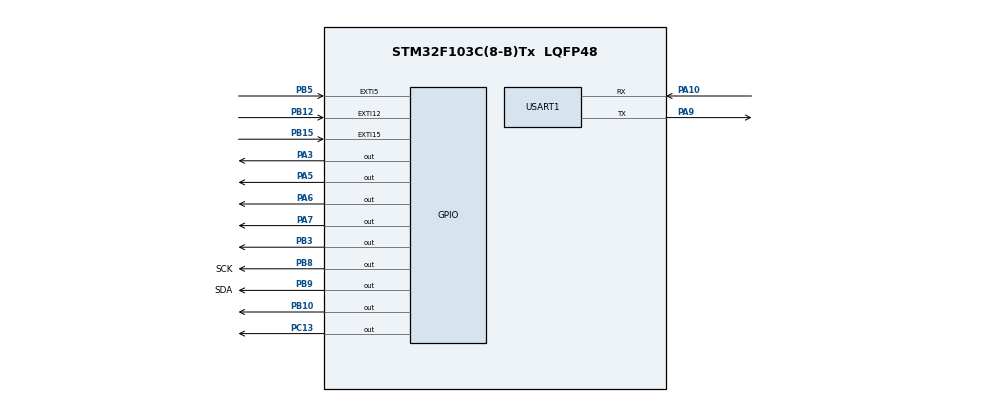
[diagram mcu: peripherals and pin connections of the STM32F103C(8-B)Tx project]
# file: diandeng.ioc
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Mcu.Family=STM32F1
Mcu.Name=STM32F103C(8-B)Tx
Mcu.Package=LQFP48
NVIC.EXTI15_10_IRQn=true\:1\:0\:true\:false\:true\:true\:true\:true
NVIC.EXTI9_5_IRQn=true\:1\:0\:true\:false\:true\:true\:true\:true
NVIC.PriorityGroup=NVIC_PRIORITYGROUP_4
NVIC.TIM2_IRQn=true\:0\:0\:false\:false\:true\:true\:true\:true
NVIC.USART1_IRQn=true\:0\:0\:false\:false\:true\:true\:true\:true
PA10.Mode=Asynchronous
PA10.Signal=USART1_RX
PA13.Mode=Serial_Wire
PA13.Signal=SYS_JTMS-SWDIO
PA14.Mode=Serial_Wire
PA14.Signal=SYS_JTCK-SWCLK
PA3.GPIO_ModeDefaultOutputPP=GPIO_MODE_OUTPUT_OD
PA3.GPIO_PuPd=GPIO_NOPULL
PA3.Signal=GPIO_Output
PA5.Signal=GPIO_Output
PA6.Signal=GPIO_Output
PA7.Signal=GPIO_Output
PA9.Mode=Asynchronous
PA9.Signal=USART1_TX
PB10.Signal=GPIO_Output
PB12.GPIO_PuPd=GPIO_PULLDOWN
PB12.Signal=GPXTI12
PB15.GPIO_PuPd=GPIO_PULLDOWN
PB15.Signal=GPXTI15
PB3.Signal=GPIO_Output
PB5.GPIO_PuPd=GPIO_PULLDOWN
PB5.Signal=GPXTI5
PB8.GPIO_Label=SCK
PB8.GPIO_ModeDefaultOutputPP=GPIO_MODE_OUTPUT_OD
PB8.GPIO_PuPd=GPIO_NOPULL
PB8.Signal=GPIO_Output
PB9.GPIO_Label=SDA
PB9.GPIO_ModeDefaultOutputPP=GPIO_MODE_OUTPUT_OD
PB9.GPIO_PuPd=GPIO_NOPULL
PB9.Signal=GPIO_Output
PC13-TAMPER-RTC.Signal=GPIO_Output
ProjectManager.HeapSize=0x200
ProjectManager.StackSize=0x400
ProjectManager.TargetToolchain=CMake
RCC.APB1Freq_Value=8000000
RCC.APB2Freq_Value=8000000
TIM2.Period=999                               
TIM2.Prescaler=7999
TIM3.Prescaler=7
USART1.VirtualMode=VM_ASYNC
VP_TIM2_VS_ClockSourceINT.Mode=Internal
VP_TIM3_VS_ClockSourceINT.Mode=Internal
board=custom

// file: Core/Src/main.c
/* USER CODE BEGIN Header */
/**
 ******************************************************************************
 * @file           : main.c
 * @brief          : Main program body
 ******************************************************************************
 * @attention
 *
 * Copyright (c) 2026 STMicroelectronics.
 * All rights reserved.
 *
 * This software is licensed under terms that can be found in the LICENSE file
 * in the root directory of this software component.
 * If no LICENSE file comes with this software, it is provided AS-IS.
 *
 ******************************************************************************
 */
/* USER CODE END Header */
#include "main.h"

/* USER CODE BEGIN Includes */
#include <stdio.h>
#include <string.h>
#include "LED_iic.h"
#include "keyboard.h"
#include "Onewire_DS18B20.h"
#include "TB6612FNG.h"
/* USER CODE END Includes */

/* USER CODE BEGIN PD */
#define BUTTONS_ATTACHED_NUM 3
#define MOTORS_ATTACHED_NUM 1
#define buzzer_pin_area GPIOB
#define buzzer_pin GPIO_PIN_10
#define buzzer_activate() HAL_GPIO_WritePin(buzzer_pin_area, buzzer_pin, GPIO_PIN_RESET);
#define buzzer_deactivate() HAL_GPIO_WritePin(buzzer_pin_area, buzzer_pin, GPIO_PIN_SET);

/* USER CODE END PD */

/* USER CODE BEGIN PM */
SingleBtn buttons[BUTTONS_ATTACHED_NUM]; // 设置-上-下
static uint16_t buttons_GPIO[] = {GPIO_PIN_12, GPIO_PIN_15, GPIO_PIN_5};
static GPIO_TypeDef *buttons_GPIO_area[] = {GPIOB, GPIOB, GPIOB};
SingleMotor motor;
short int SettingStatus = 0; // 当前选择位置状态机

/* USER CODE END PM */

TIM_HandleTypeDef htim2;
TIM_HandleTypeDef htim3;

UART_HandleTypeDef huart1;

/* USER CODE BEGIN PV */
struct Platformtime
{
  volatile short int hours, minutes, seconds;
  volatile short int years, months, days;
};
struct State
{
  char _bool;
};

volatile struct Platformtime Time_present;
uint8_t rx_buffer[64];
char string_up[24];
char string_down[24];
char string_3[24];
char string_4[24];
short int alarm_hours = 0, alarm_minutes = 1; // 闹铃时间
_Bool alarm_trigger = false;                  // 闹铃/警报是否正在触发
long long alarm_trigger_unix = 0;             // 闹铃触发的时间
short int ALARM_TEMPTURE = 26;                // 报警温度
volatile float current_tempture = 0;          // 当前温度
volatile short int *volume_pointer;           // !上下键要修改的值的指针，易变
/* USER CODE END PV */

void SystemClock_Config(void);
static void MX_GPIO_Init(void);
static void MX_USART1_UART_Init(void);
static void MX_TIM2_Init(void);
static void MX_TIM3_Init(void);

/* USER CODE BEGIN 0 */
int max(int a, int b)
{
  if (a > b)
  {
    return a;
  }
  return b;
}
int min(int a, int b)
{
  if (a < b)
  {
    return a;
  }
  return b;
}
int _write(int file, char *ptr, int len)
{
  (void)file;
  HAL_UART_Transmit(&huart1, (uint8_t *)ptr, (uint16_t)len, 2);
  return len;
}
short int fixSettingStatus(short int value)
{
  if (SettingStatus > 8)
  {
    SettingStatus = 0;
  }
  else if (SettingStatus < 0)
  {
    SettingStatus = 0;
  }
  else
  {
    SettingStatus = value;
  }
  return SettingStatus;
}
void SleepDisplayBasedOnSetting(short int ignore)
{
  OLED_generateChace(&htim3);
  if (ignore == 0)
  {
    switch (SettingStatus)
    {
    case 0:
      OLED_ClearVram();
      sprintf(string_up, "%04d-%02d-%02d", Time_present.years, Time_present.months, Time_present.days);
      sprintf(string_down, "%02d:%02d:%02d", Time_present.hours, Time_present.minutes, Time_present.seconds);
      sprintf(string_3, "C:%.2f A:%d", current_tempture, ALARM_TEMPTURE);
      sprintf(string_4, "A:%02d:%02d", alarm_hours, alarm_minutes);
      OLED_ShowString(1, 1, string_up);
      OLED_ShowString(2, 1, string_down);
      OLED_ShowString(3, 1, string_3);
      OLED_ShowString(4, 1, string_4);
      OLED_Refresh(&htim3);
      volume_pointer = NULL;
      break;
    case 1:
      // 秒
      OLED_ClearVram();
      sprintf(string_up, "%04d-%02d-%02d", Time_present.years, Time_present.months, Time_present.days);
      sprintf(string_down, "%02d:%02d:  ", Time_present.hours, Time_present.minutes);
      sprintf(string_3, "C:%.2f A:%d", current_tempture, ALARM_TEMPTURE);
      sprintf(string_4, "A:%02d:%02d", alarm_hours, alarm_minutes);
      OLED_ShowString(1, 1, string_up);
      OLED_ShowString(2, 1, string_down);
      OLED_ShowString(3, 1, string_3);
      OLED_ShowString(4, 1, string_4);
      OLED_Refresh(&htim3);
      volume_pointer = &Time_present.seconds;
      break;
    case 2:
      // 分
      OLED_ClearVram();
      sprintf(string_up, "%04d-%02d-%02d", Time_present.years, Time_present.months, Time_present.days);
      sprintf(string_down, "%02d:  :%02d", Time_present.hours, Time_present.seconds);
      sprintf(string_3, "C:%.2f A:%d", current_tempture, ALARM_TEMPTURE);
      sprintf(string_4, "A:%02d:%02d", alarm_hours, alarm_minutes);
      OLED_ShowString(1, 1, string_up);
      OLED_ShowString(2, 1, string_down);
      OLED_ShowString(3, 1, string_3);
      OLED_ShowString(4, 1, string_4);
      OLED_Refresh(&htim3);
      volume_pointer = &Time_present.minutes;
      break;
    case 3:
      // hours
      OLED_ClearVram();
      sprintf(string_up, "%04d-%02d-%02d", Time_present.years, Time_present.months, Time_present.days);
      sprintf(string_down, "  :%02d:%02d", Time_present.minutes, Time_present.seconds);
      sprintf(string_3, "C:%.2f A:%d", current_tempture, ALARM_TEMPTURE);
      sprintf(string_4, "A:%02d:%02d", alarm_hours, alarm_minutes);
      OLED_ShowString(1, 1, string_up);
      OLED_ShowString(2, 1, string_down);
      OLED_ShowString(3, 1, string_3);
      OLED_ShowString(4, 1, string_4);
      OLED_Refresh(&htim3);
      volume_pointer = &Time_present.hours;
      break;
    case 4:
      // days
      OLED_ClearVram();
      sprintf(string_up, "%04d-%02d-  ", Time_present.years, Time_present.months);
      sprintf(string_down, "%02d:%02d:%02d", Time_present.hours, Time_present.minutes, Time_present.seconds);
      sprintf(string_3, "C:%.2f A:%d", current_tempture, ALARM_TEMPTURE);
      sprintf(string_4, "A:%02d:%02d", alarm_hours, alarm_minutes);
      OLED_ShowString(1, 1, string_up);
      OLED_ShowString(2, 1, string_down);
      OLED_ShowString(3, 1, string_3);
      OLED_ShowString(4, 1, string_4);
      OLED_Refresh(&htim3);
      volume_pointer = &Time_present.days;
      break;
    case 5:
      // months
      OLED_ClearVram();
      sprintf(string_up, "%04d-  -%02d", Time_present.years, Time_present.days);
      sprintf(string_down, "%02d:%02d:%02d", Time_present.hours, Time_present.minutes, Time_present.seconds);
      sprintf(string_3, "C:%.2f A:%d", current_tempture, ALARM_TEMPTURE);
      sprintf(string_4, "A:%02d:%02d", alarm_hours, alarm_minutes);
      OLED_ShowString(1, 1, string_up);
      OLED_ShowString(2, 1, string_down);
      OLED_ShowString(3, 1, string_3);
      OLED_ShowString(4, 1, string_4);
      OLED_Refresh(&htim3);
      volume_pointer = &Time_present.months;
      break;
    case 6:
      // years
      OLED_ClearVram();
      sprintf(string_up, "    -%02d-%02d", Time_present.months, Time_present.days);
      sprintf(string_down, "%02d:%02d:%02d", Time_present.hours, Time_present.minutes, Time_present.seconds);
      sprintf(string_3, "C:%.2f A:%.d", current_tempture, ALARM_TEMPTURE);
      sprintf(string_4, "A:%02d:%02d", alarm_hours, alarm_minutes);
      OLED_ShowString(1, 1, string_up);
      OLED_ShowString(2, 1, string_down);
      OLED_ShowString(3, 1, string_3);
      OLED_ShowString(4, 1, string_4);
      OLED_Refresh(&htim3);
      volume_pointer = &Time_present.years;
      break;
    case 7:
      // 闹铃时
      OLED_ClearVram();
      sprintf(string_up, "%04d-%02d-%02d", Time_present.years, Time_present.months, Time_present.days);
      sprintf(string_down, "%02d:%02d:%02d", Time_present.hours, Time_present.minutes, Time_present.seconds);
      sprintf(string_3, "C:%.2f A:%d", current_tempture, ALARM_TEMPTURE);
      sprintf(string_4, "A:  :%02d ", alarm_minutes);
      OLED_ShowString(1, 1, string_up);
      OLED_ShowString(2, 1, string_down);
      OLED_ShowString(3, 1, string_3);
      OLED_ShowString(4, 1, string_4);
      OLED_Refresh(&htim3);
      volume_pointer = &alarm_hours;
      break;
    case 8:
      // 闹铃分
      OLED_ClearVram();
      sprintf(string_up, "%04d-%02d-%02d", Time_present.years, Time_present.months, Time_present.days);
      sprintf(string_down, "%02d:%02d:%02d", Time_present.hours, Time_present.minutes, Time_present.seconds);
      sprintf(string_3, "C:%.2f A:%d", current_tempture, ALARM_TEMPTURE);
      sprintf(string_4, "A:%02d:  ", alarm_hours);
      OLED_ShowString(1, 1, string_up);
      OLED_ShowString(2, 1, string_down);
      OLED_ShowString(3, 1, string_3);
      OLED_ShowString(4, 1, string_4);
      OLED_Refresh(&htim3);
      volume_pointer = &alarm_minutes;
      break;
    case 9:
      // 温度报警
      OLED_ClearVram();
      sprintf(string_up, "%04d-%02d-%02d", Time_present.years, Time_present.months, Time_present.days);
      sprintf(string_down, "%02d:%02d:%02d", Time_present.hours, Time_present.minutes, Time_present.seconds);
      sprintf(string_3, "C:%.2f A:  ", current_tempture);
      sprintf(string_4, "A:%02d:%02d", alarm_hours, alarm_minutes);
      OLED_ShowString(1, 1, string_up);
      OLED_ShowString(2, 1, string_down);
      OLED_ShowString(3, 1, string_3);
      OLED_ShowString(4, 1, string_4);
      OLED_Refresh(&htim3);
      volume_pointer = &ALARM_TEMPTURE;
      break;
    default:
      OLED_ClearVram();
      sprintf(string_up, "%04d-%02d-%02d", Time_present.years, Time_present.months, Time_present.days);
      sprintf(string_down, "%02d:%02d:%02d", Time_present.hours, Time_present.minutes, Time_present.seconds);
      sprintf(string_3, "C:%.2f A:%d", current_tempture, ALARM_TEMPTURE);
      sprintf(string_4, "A:%02d:%02d", alarm_hours, alarm_minutes);
      OLED_ShowString(1, 1, string_up);
      OLED_ShowString(2, 1, string_down);
      OLED_ShowString(3, 1, string_3);
      OLED_ShowString(4, 1, string_4);
      OLED_Refresh(&htim3);
      volume_pointer = NULL;
      break;
    }
  }
  else
  {
    OLED_ClearVram();
    sprintf(string_up, "%04d-%02d-%02d", Time_present.years, Time_present.months, Time_present.days);
    sprintf(string_down, "%02d:%02d:%02d", Time_present.hours, Time_present.minutes, Time_present.seconds);
    sprintf(string_3, "C:%.2f A:%d", current_tempture, ALARM_TEMPTURE);
    sprintf(string_4, "A:%02d:%02d", alarm_hours, alarm_minutes);
    OLED_ShowString(1, 1, string_up);
    OLED_ShowString(2, 1, string_down);
    OLED_ShowString(3, 1, string_3);
    OLED_ShowString(4, 1, string_4);
    OLED_Refresh(&htim3);
    volume_pointer = NULL;
  }
}
/* USER CODE END 0 */

int main(void)
{

  /* USER CODE BEGIN 1 */
  for (int i = 0; i < BUTTONS_ATTACHED_NUM; i++)
  {
    SingleBtn_Init(&buttons[i], buttons_GPIO_area[i], buttons_GPIO[i]);
  }
  //! Button initialization
  Time_present.years = 2026;
  Time_present.months = 9;
  Time_present.days = 12;
  Time_present.hours = 10;
  Time_present.minutes = 00;
  Time_present.seconds = 00;
  alarm_hours = Time_present.hours;
  alarm_minutes = Time_present.minutes + 1;
  // DEBUG 闹铃时间初始化
  //! 时间初始化
  /* USER CODE END 1 */

  /* MCU Configuration--------------------------------------------------------*/

  /* Reset of all peripherals, Initializes the Flash interface and the Systick. */
  HAL_Init();

  /* Configure the system clock */
  SystemClock_Config();

  /* Initialize all configured peripherals */
  MX_GPIO_Init();
  MX_USART1_UART_Init();
  MX_TIM2_Init();
  MX_TIM3_Init();
  /* USER CODE BEGIN 2 */
  HAL_TIM_Base_Start_IT(&htim2);
  HAL_TIM_Base_Start(&htim3);
  HAL_UARTEx_ReceiveToIdle_IT(&huart1, rx_buffer, sizeof rx_buffer);
  buzzer_deactivate();
  iic_initialize();
  OLED_init(&htim3);
  SingleMotor_Init(&motor, GPIOA, GPIO_PIN_5, GPIOA, GPIO_PIN_6, GPIOA, GPIO_PIN_7); // 对电机进行初始化
  HAL_GPIO_TogglePin(GPIOB, GPIO_PIN_3);

  /* USER CODE END 2 */

  /* Infinite loop */
  while (1)
  {

    /* USER CODE BEGIN 3 */

    // 显示当前时间
    short int temp_time = Time_present.seconds;
    long long tmep_time_unix = HAL_GetTick();
    bool flag = false;
    if (HAL_GetTick() - DS18B20_launchConvertTick > 1000)
    {
      current_tempture = DS18B20_read(&htim3);
      DS18B20_tempConvert(&htim3);
      SleepDisplayBasedOnSetting(0);
      if (current_tempture > ALARM_TEMPTURE * 1.0)
      {
        // 温度检测报警，防止频繁触发
        alarm_trigger = true;
      }
    }
    while (Time_present.seconds == temp_time && HAL_GetTick() - tmep_time_unix < 500)
    {
      if (flag == false)
      {
        SleepDisplayBasedOnSetting(0);
        flag = true;
        continue;
      }
      if (alarm_trigger == true && SettingStatus != 9)
      {
        // TODO 在这里写蜂鸣器和led逻辑
        for (int i = 0; i < 28; i++)
        {
          fixSettingStatus(0); // 强行中断当前的修改任务
          HAL_GPIO_TogglePin(GPIOB, GPIO_PIN_3);
          buzzer_activate();
          SleepDisplayBasedOnSetting(1);
          unsigned long long tick = HAL_GetTick();
          while (HAL_GetTick() - tick < 100)
          {
            if (current_tempture > ALARM_TEMPTURE * 1.0)
            {
              // 如果闹铃是由温度驱动
              SingleMotor_Forward(&motor);
            }
          }
          SingleMotor_Stop(&motor);
          buzzer_deactivate();
        }
        alarm_trigger = false;
      }
    }
    SleepDisplayBasedOnSetting(1);
  }
  /* USER CODE END 3 */
}

void SystemClock_Config(void)
{
  RCC_OscInitTypeDef RCC_OscInitStruct = {0};
  RCC_ClkInitTypeDef RCC_ClkInitStruct = {0};

  /** Initializes the RCC Oscillators according to the specified parameters
   * in the RCC_OscInitTypeDef structure.
   */
  RCC_OscInitStruct.OscillatorType = RCC_OSCILLATORTYPE_HSI;
  RCC_OscInitStruct.HSIState = RCC_HSI_ON;
  RCC_OscInitStruct.HSICalibrationValue = RCC_HSICALIBRATION_DEFAULT;
  RCC_OscInitStruct.PLL.PLLState = RCC_PLL_NONE;
  if (HAL_RCC_OscConfig(&RCC_OscInitStruct) != HAL_OK)
  {
    Error_Handler();
  }

  /** Initializes the CPU, AHB and APB buses clocks
   */
  RCC_ClkInitStruct.ClockType = RCC_CLOCKTYPE_HCLK | RCC_CLOCKTYPE_SYSCLK | RCC_CLOCKTYPE_PCLK1 | RCC_CLOCKTYPE_PCLK2;
  RCC_ClkInitStruct.SYSCLKSource = RCC_SYSCLKSOURCE_HSI;
  RCC_ClkInitStruct.AHBCLKDivider = RCC_SYSCLK_DIV1;
  RCC_ClkInitStruct.APB1CLKDivider = RCC_HCLK_DIV1;
  RCC_ClkInitStruct.APB2CLKDivider = RCC_HCLK_DIV1;

  if (HAL_RCC_ClockConfig(&RCC_ClkInitStruct, FLASH_LATENCY_0) != HAL_OK)
  {
    Error_Handler();
  }
}

static void MX_TIM2_Init(void)
{

  TIM_ClockConfigTypeDef sClockSourceConfig = {0};
  TIM_MasterConfigTypeDef sMasterConfig = {0};

  htim2.Instance = TIM2;
  htim2.Init.Prescaler = 7999;
  htim2.Init.CounterMode = TIM_COUNTERMODE_UP;
  htim2.Init.Period = 999;
  htim2.Init.ClockDivision = TIM_CLOCKDIVISION_DIV1;
  htim2.Init.AutoReloadPreload = TIM_AUTORELOAD_PRELOAD_DISABLE;
  if (HAL_TIM_Base_Init(&htim2) != HAL_OK)
  {
    Error_Handler();
  }
  sClockSourceConfig.ClockSource = TIM_CLOCKSOURCE_INTERNAL;
  if (HAL_TIM_ConfigClockSource(&htim2, &sClockSourceConfig) != HAL_OK)
  {
    Error_Handler();
  }
  sMasterConfig.MasterOutputTrigger = TIM_TRGO_RESET;
  sMasterConfig.MasterSlaveMode = TIM_MASTERSLAVEMODE_DISABLE;
  if (HAL_TIMEx_MasterConfigSynchronization(&htim2, &sMasterConfig) != HAL_OK)
  {
    Error_Handler();
  }
}

static void MX_TIM3_Init(void)
{

  TIM_ClockConfigTypeDef sClockSourceConfig = {0};
  TIM_MasterConfigTypeDef sMasterConfig = {0};

  htim3.Instance = TIM3;
  htim3.Init.Prescaler = 7;
  htim3.Init.CounterMode = TIM_COUNTERMODE_UP;
  htim3.Init.Period = 65535;
  htim3.Init.ClockDivision = TIM_CLOCKDIVISION_DIV1;
  htim3.Init.AutoReloadPreload = TIM_AUTORELOAD_PRELOAD_DISABLE;
  if (HAL_TIM_Base_Init(&htim3) != HAL_OK)
  {
    Error_Handler();
  }
  sClockSourceConfig.ClockSource = TIM_CLOCKSOURCE_INTERNAL;
  if (HAL_TIM_ConfigClockSource(&htim3, &sClockSourceConfig) != HAL_OK)
  {
    Error_Handler();
  }
  sMasterConfig.MasterOutputTrigger = TIM_TRGO_RESET;
  sMasterConfig.MasterSlaveMode = TIM_MASTERSLAVEMODE_DISABLE;
  if (HAL_TIMEx_MasterConfigSynchronization(&htim3, &sMasterConfig) != HAL_OK)
  {
    Error_Handler();
  }
}

static void MX_USART1_UART_Init(void)
{

  huart1.Instance = USART1;
  huart1.Init.BaudRate = 115200;
  huart1.Init.WordLength = UART_WORDLENGTH_8B;
  huart1.Init.StopBits = UART_STOPBITS_1;
  huart1.Init.Parity = UART_PARITY_NONE;
  huart1.Init.Mode = UART_MODE_TX_RX;
  huart1.Init.HwFlowCtl = UART_HWCONTROL_NONE;
  huart1.Init.OverSampling = UART_OVERSAMPLING_16;
  if (HAL_UART_Init(&huart1) != HAL_OK)
  {
    Error_Handler();
  }
}

static void MX_GPIO_Init(void)
{
  GPIO_InitTypeDef GPIO_InitStruct = {0};

  /* GPIO Ports Clock Enable */
  __HAL_RCC_GPIOC_CLK_ENABLE();
  __HAL_RCC_GPIOA_CLK_ENABLE();
  __HAL_RCC_GPIOB_CLK_ENABLE();

  /*Configure GPIO pin Output Level */
  HAL_GPIO_WritePin(GPIOC, GPIO_PIN_13, GPIO_PIN_RESET);

  /*Configure GPIO pin Output Level */
  HAL_GPIO_WritePin(GPIOA, GPIO_PIN_3 | GPIO_PIN_5 | GPIO_PIN_6 | GPIO_PIN_7, GPIO_PIN_RESET);

  /*Configure GPIO pin Output Level */
  HAL_GPIO_WritePin(GPIOB, GPIO_PIN_10 | GPIO_PIN_3 | SCK_Pin | SDA_Pin, GPIO_PIN_RESET);

  /*Configure GPIO pin : PC13 */
  GPIO_InitStruct.Pin = GPIO_PIN_13;
  GPIO_InitStruct.Mode = GPIO_MODE_OUTPUT_PP;
  GPIO_InitStruct.Pull = GPIO_NOPULL;
  GPIO_InitStruct.Speed = GPIO_SPEED_FREQ_LOW;
  HAL_GPIO_Init(GPIOC, &GPIO_InitStruct);

  /*Configure GPIO pin : PA3 */
  GPIO_InitStruct.Pin = GPIO_PIN_3;
  GPIO_InitStruct.Mode = GPIO_MODE_OUTPUT_OD;
  GPIO_InitStruct.Pull = GPIO_NOPULL;
  GPIO_InitStruct.Speed = GPIO_SPEED_FREQ_LOW;
  HAL_GPIO_Init(GPIOA, &GPIO_InitStruct);

  /*Configure GPIO pins : PA5 PA6 PA7 */
  GPIO_InitStruct.Pin = GPIO_PIN_5 | GPIO_PIN_6 | GPIO_PIN_7;
  GPIO_InitStruct.Mode = GPIO_MODE_OUTPUT_PP;
  GPIO_InitStruct.Pull = GPIO_NOPULL;
  GPIO_InitStruct.Speed = GPIO_SPEED_FREQ_LOW;
  HAL_GPIO_Init(GPIOA, &GPIO_InitStruct);

  /*Configure GPIO pins : PB10 PB3 */
  GPIO_InitStruct.Pin = GPIO_PIN_10 | GPIO_PIN_3;
  GPIO_InitStruct.Mode = GPIO_MODE_OUTPUT_PP;
  GPIO_InitStruct.Pull = GPIO_NOPULL;
  GPIO_InitStruct.Speed = GPIO_SPEED_FREQ_LOW;
  HAL_GPIO_Init(GPIOB, &GPIO_InitStruct);

  /*Configure GPIO pins : PB12 PB15 PB5 */
  GPIO_InitStruct.Pin = GPIO_PIN_12 | GPIO_PIN_15 | GPIO_PIN_5;
  GPIO_InitStruct.Mode = GPIO_MODE_IT_RISING;
  GPIO_InitStruct.Pull = GPIO_PULLDOWN;
  HAL_GPIO_Init(GPIOB, &GPIO_InitStruct);

  /*Configure GPIO pins : SCK_Pin SDA_Pin */
  GPIO_InitStruct.Pin = SCK_Pin | SDA_Pin;
  GPIO_InitStruct.Mode = GPIO_MODE_OUTPUT_OD;
  GPIO_InitStruct.Pull = GPIO_NOPULL;
  GPIO_InitStruct.Speed = GPIO_SPEED_FREQ_LOW;
  HAL_GPIO_Init(GPIOB, &GPIO_InitStruct);

  /* EXTI interrupt init*/
  HAL_NVIC_SetPriority(EXTI9_5_IRQn, 1, 0);
  HAL_NVIC_EnableIRQ(EXTI9_5_IRQn);

  HAL_NVIC_SetPriority(EXTI15_10_IRQn, 1, 0);
  HAL_NVIC_EnableIRQ(EXTI15_10_IRQn);

}

/* USER CODE BEGIN 4 */
void HAL_TIM_PeriodElapsedCallback(TIM_HandleTypeDef *htim)
{
  if (htim->Instance == TIM2)
  {
    // * only run when the callback is triggered by TIM1
    // * update time
    if (!(SettingStatus <= 6 && SettingStatus >= 1))
    {
      // 在设置时间的时候暂停时间的流动（很高级吧！对吧对吧？！）
      Time_present.seconds++;
    }
    if (Time_present.seconds >= 60)
    {
      Time_present.seconds = 0;
      Time_present.minutes++;
    }
    if (Time_present.minutes >= 60)
    {
      Time_present.minutes = 0;
      Time_present.hours++;
    }
    if (Time_present.hours >= 24)
    {
      Time_present.hours = 0;
      Time_present.minutes = 0;
      Time_present.seconds = 0;
      Time_present.days++;
    }
    // ways to calculate years,month,days
    unsigned char isrunyears = ((Time_present.years % 4 == 0 && Time_present.years % 100 != 0) || (Time_present.years % 100 == 0 && Time_present.years % 400 == 0));
    short int DAYS_MAX;
    switch (Time_present.months)
    {
    case 1:
    case 3:
    case 5:
    case 7:
    case 8:
    case 10:
    case 12:
      DAYS_MAX = 31;
      break;
    case 4:
    case 6:
    case 9:
    case 11:
      DAYS_MAX = 30;
      break;
    case 2:
      if (isrunyears)
      {
        DAYS_MAX = 29;
      }
      else
      {
        DAYS_MAX = 28;
      }
      break;
    default:
      DAYS_MAX = 31;
      // * 保底策略
      break;
    }
    // * end calculating run years
    if (Time_present.days > DAYS_MAX)
    {
      Time_present.months++;
      Time_present.days = 1;
    }
    if (Time_present.months > 12)
    {
      Time_present.years++;
      Time_present.months = 1;
    }
    // 闹铃时间合法性检验
    alarm_hours = max(min(alarm_hours, 23), 0);
    alarm_minutes = max(min(alarm_minutes, 59), 0);
    // 闹铃触发的判断
    if (Time_present.minutes == alarm_minutes && Time_present.hours == alarm_hours && Time_present.seconds == 0 && alarm_trigger == false)
    {
      //* 闹铃使能，当前没有触发闹钟，在设定的时间的第零秒触发
      alarm_trigger = true;
    }
  }
  // !
}
// 按键触发中断函数
void HAL_GPIO_EXTI_Callback(uint16_t GPIO_Pin)
{
  /*  !简单思考了一下，这里似乎没有办法区分端口，例如A1,B1，搜索资料发现这似乎是stm32的限制
      !需要多加注意 */
  if (GPIO_Pin == GPIO_PIN_12 || GPIO_Pin == GPIO_PIN_5 || GPIO_Pin == GPIO_PIN_15)
  {
    // 若触发了按钮事件
    GetKeyboardStatus(buttons, 3);
    if (buttons[0].status == true)
    {
      // 假若设置键被按下
      fixSettingStatus(SettingStatus + 1);
    }
    // 处理上
    if (buttons[1].status == true && volume_pointer != NULL)
    {
      *volume_pointer += 1;
    }
    // 处理下
    if (buttons[2].status == true && volume_pointer != NULL)
    {
      *volume_pointer -= 1;
    }
  }
}
void HAL_UARTEx_RxEventCallback(UART_HandleTypeDef *huart, uint16_t Size)
{
  if (huart->Instance == USART1)
  {
    HAL_UARTEx_ReceiveToIdle_IT(huart, rx_buffer, sizeof rx_buffer); /* 重新武装，等下一包 */
    if (strncmp((char *)rx_buffer, "t?", 2) == 0)
    {
      // if t?
      printf("current time:%04d-%02d-%02d %02d:%02d:%02d\n", Time_present.years, Time_present.months, Time_present.days,
             Time_present.hours, Time_present.minutes, Time_present.seconds);
    }
    if (strncmp((char *)rx_buffer, "#date", 5) == 0 && Size >= 15 && rx_buffer[9] == '-' && rx_buffer[12] == '-')
    {
      // #date2026-05-10
      // a normal request should be 15 char long
      for (int i = 0; i < 15; i++)
      {
        rx_buffer[i] = rx_buffer[i] - '0';
      }
      short int years = rx_buffer[5] * 1000 + rx_buffer[6] * 100 + rx_buffer[7] * 10 + rx_buffer[8] * 1;
      short int months = rx_buffer[10] * 10 + rx_buffer[11] * 1;
      short int days = rx_buffer[13] * 10 + rx_buffer[14] * 1;
      Time_present.days = days;
      Time_present.months = months;
      Time_present.years = years;
    }
    if (strncmp((char *)rx_buffer, "#time", 5) == 0 && Size >= 13 && rx_buffer[7] == ':' && rx_buffer[10] == ':')
    {
      // #time12:30:11
      // a normal request should be 13 char long
      for (int i = 0; i < 13; i++)
      {
        rx_buffer[i] = rx_buffer[i] - '0';
      }
      short int hours = rx_buffer[5] * 10 + rx_buffer[6] * 1;
      short int minutes = rx_buffer[8] * 10 + rx_buffer[9] * 1;
      short int seconds = rx_buffer[11] * 10 + rx_buffer[12] * 1;
      Time_present.seconds = seconds;
      Time_present.minutes = minutes;
      Time_present.hours = hours;
    }
  }
}
/* USER CODE END 4 */

void Error_Handler(void)
{
  __disable_irq();
  while (1)
  {
  }
}
